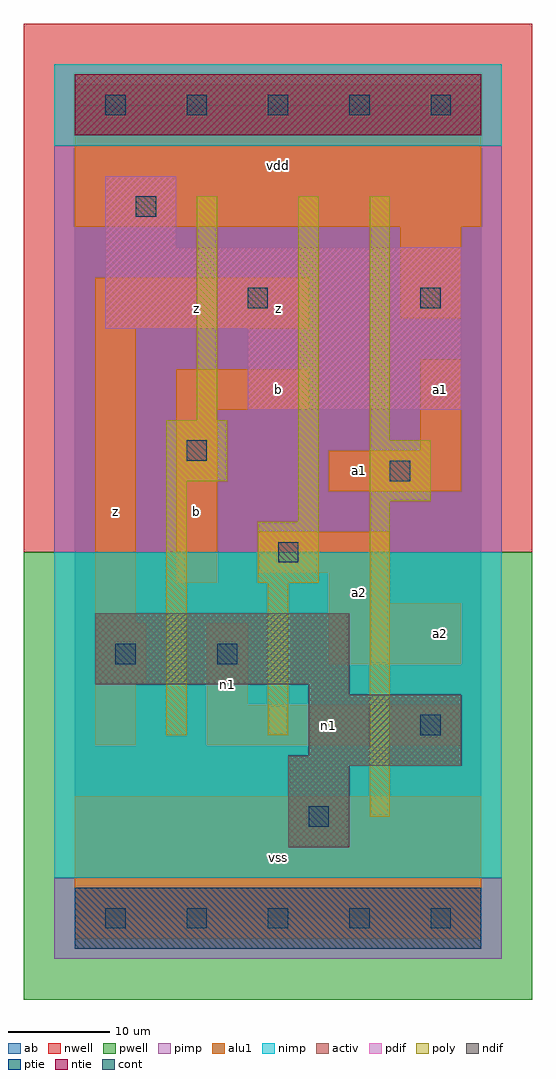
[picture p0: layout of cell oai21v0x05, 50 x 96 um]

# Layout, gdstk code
import gdstk
lib = gdstk.Library(unit=1e-6, precision=1e-09)
def R(c, l, rs):  # rectangles x0, y0, x1, y1
    for r in rs: c.add(gdstk.rectangle(r[:2], r[2:], *l))
def A(c, l, x, y, w, h, nx, ny, dx, dy):  # array of equal rectangles
    R(c, l, [(x+i*dx, y+j*dy, x+i*dx+w, y+j*dy+h) for i in range(nx) for j in range(ny)])
ndif = (3, 0)
pdif = (4, 0)
ntie = (5, 0)
ptie = (6, 0)
cont = (25, 0)
pwell = (41, 0)
nwell = (42, 0)
activ = (43, 0)
pimp = (44, 0)
nimp = (45, 0)
poly = (46, 0)
alu1 = (49, 0)
ab = (63, 0)

oai21v0x05 = lib.new_cell('oai21v0x05')
R(oai21v0x05, ndif, [(21,7,27,15), (21,15,38,16), (23,16,38,22), (23,22,27,23), (2,23,27,30)])
R(oai21v0x05, pdif, [(17,50,38,58), (3,58,38,66), (3,66,10,73)])
R(oai21v0x05, ntie, [(0,77,40,83)])
R(oai21v0x05, ptie, [(0,-3,40,3)])
A(oai21v0x05, cont, 3, -1, 2, 2, 5, 2, 8, 80)
R(oai21v0x05, cont, [(23,9,25,11), (34,18,36,20), (4,25,6,27), (14,25,16,27), (20,35,22,37), (31,43,33,45), (11,45,13,47), (17,60,19,62), (34,60,36,62), (6,69,8,71)])
R(oai21v0x05, pwell, [(-5,-8,45,36)])
R(oai21v0x05, nwell, [(-5,36,45,88)])
R(oai21v0x05, activ, [(0,-3,40,3), (21,7,27,15), (21,15,38,16), (23,16,38,22), (23,22,27,23), (2,23,27,30), (17,50,38,58), (3,58,38,66), (3,66,10,73), (0,77,40,83)])
R(oai21v0x05, pimp, [(-2,-4,42,4), (-2,36,42,76)])
R(oai21v0x05, nimp, [(-2,4,42,36), (-2,76,42,84)])
R(oai21v0x05, poly, [(29,10,31,41), (9,18,11,43), (19,18,21,33), (18,33,24,39), (22,39,24,71), (29,41,35,47), (9,43,15,49), (29,47,31,71), (12,49,14,71)])
R(oai21v0x05, alu1, [(0,-2,40,12), (2,17,6,23), (13,17,38,21), (13,21,17,29), (2,23,7,29), (25,25,38,31), (2,29,6,58), (25,31,31,34), (10,33,14,50), (18,34,31,38), (25,42,38,46), (34,46,38,55), (10,50,23,54), (2,58,23,63), (32,59,38,68), (0,68,40,82)])
R(oai21v0x05, ab, [(0,0,40,80)])
oai21v0x05.add(gdstk.Label('n1', (15,23), layer=49, texttype=0))
oai21v0x05.add(gdstk.Label('n1', (25,19), layer=49, texttype=0))
oai21v0x05.add(gdstk.Label('z', (4,40), layer=49, texttype=0))
oai21v0x05.add(gdstk.Label('b', (12,40), layer=49, texttype=0))
oai21v0x05.add(gdstk.Label('z', (12,60), layer=49, texttype=0))
oai21v0x05.add(gdstk.Label('vss', (20,6), layer=49, texttype=0))
oai21v0x05.add(gdstk.Label('a2', (28,32), layer=49, texttype=0))
oai21v0x05.add(gdstk.Label('a1', (28,44), layer=49, texttype=0))
oai21v0x05.add(gdstk.Label('b', (20,52), layer=49, texttype=0))
oai21v0x05.add(gdstk.Label('z', (20,60), layer=49, texttype=0))
oai21v0x05.add(gdstk.Label('vdd', (20,74), layer=49, texttype=0))
oai21v0x05.add(gdstk.Label('a2', (36,28), layer=49, texttype=0))
oai21v0x05.add(gdstk.Label('a1', (36,52), layer=49, texttype=0))

lib.write_gds('oai21v0x05.gds')
